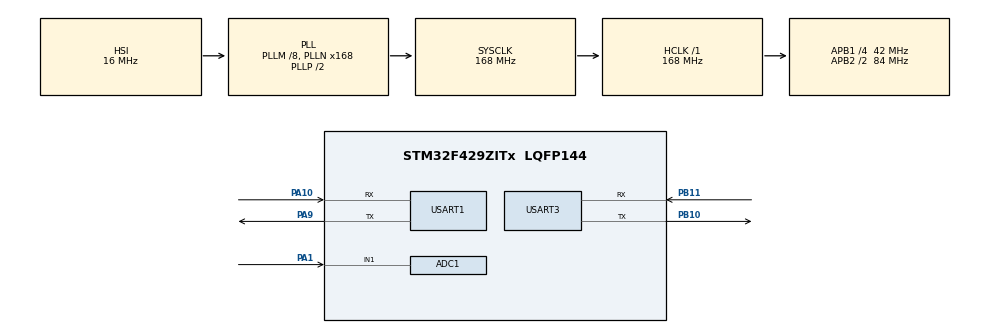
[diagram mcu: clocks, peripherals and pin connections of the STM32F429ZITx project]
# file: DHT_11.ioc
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ADC1.Channel-12\#ChannelRegularConversion=ADC_CHANNEL_1
ADC1.ContinuousConvMode=ENABLE
ADC1.NbrOfConversionFlag=1
ADC1.Rank-12\#ChannelRegularConversion=1
ADC1.SamplingTime-12\#ChannelRegularConversion=ADC_SAMPLETIME_3CYCLES
ADC1.master=1
Mcu.Family=STM32F4
Mcu.Name=STM32F429ZITx
Mcu.Package=LQFP144
NVIC.PriorityGroup=NVIC_PRIORITYGROUP_4
NVIC.USART1_IRQn=true\:0\:0\:false\:false\:true\:true\:true\:true
NVIC.USART3_IRQn=true\:0\:0\:false\:false\:true\:true\:true\:true
PA1.Signal=ADCx_IN1
PA10.Mode=Asynchronous
PA10.Signal=USART1_RX
PA13.Mode=Serial_Wire
PA13.Signal=SYS_JTMS-SWDIO
PA14.Mode=Serial_Wire
PA14.Signal=SYS_JTCK-SWCLK
PA9.Mode=Asynchronous
PA9.Signal=USART1_TX
PB10.Mode=Asynchronous
PB10.Signal=USART3_TX
PB11.Mode=Asynchronous
PB11.Signal=USART3_RX
PH0/OSC_IN.Mode=HSE-External-Oscillator
PH0/OSC_IN.Signal=RCC_OSC_IN
PH1/OSC_OUT.Mode=HSE-External-Oscillator
PH1/OSC_OUT.Signal=RCC_OSC_OUT
ProjectManager.HeapSize=0x200
ProjectManager.StackSize=0x400
ProjectManager.TargetToolchain=STM32CubeIDE
RCC.48MHZClocksFreq_Value=84000000
RCC.AHBFreq_Value=168000000
RCC.APB1CLKDivider=RCC_HCLK_DIV4
RCC.APB1Freq_Value=42000000
RCC.APB1TimFreq_Value=84000000
RCC.APB2CLKDivider=RCC_HCLK_DIV2
RCC.APB2Freq_Value=84000000
RCC.APB2TimFreq_Value=168000000
RCC.CortexFreq_Value=168000000
RCC.HCLKFreq_Value=168000000
RCC.HSE_VALUE=25000000
RCC.HSI_VALUE=16000000
RCC.LSE_VALUE=32768
RCC.PLLM=8
RCC.PLLN=168
RCC.SYSCLKFreq_VALUE=168000000
RCC.SYSCLKSource=RCC_SYSCLKSOURCE_PLLCLK
RCC.VCOOutputFreq_Value=336000000
SH.ADCx_IN1.0=ADC1_IN1,IN1
TIM1.Prescaler=167
USART1.VirtualMode=VM_ASYNC
USART3.VirtualMode=VM_ASYNC
VP_TIM1_VS_ClockSourceINT.Mode=Internal
board=custom

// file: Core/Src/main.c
/* USER CODE BEGIN Header */
/**
  ******************************************************************************
  * @file           : main.c
  * @brief          : Main program body
  ******************************************************************************
  * @attention
  *
  * Copyright (c) 2024 STMicroelectronics.
  * All rights reserved.
  *
  * This software is licensed under terms that can be found in the LICENSE file
  * in the root directory of this software component.
  * If no LICENSE file comes with this software, it is provided AS-IS.
  *
  ******************************************************************************
  */
/* USER CODE END Header */
#include "main.h"

/* USER CODE BEGIN Includes */
#include <stdio.h>
#include <string.h>

#define DHT11_PORT GPIOB
#define DHT11_PIN GPIO_PIN_9

uint8_t RHI, RHD, TCI, TCD, SUM;
uint32_t pMillis, cMillis;

float tCelsius = 0;
float tFahrenheit = 0;
float RH = 0;
/* USER CODE END Includes */

ADC_HandleTypeDef hadc1;

TIM_HandleTypeDef htim1;

UART_HandleTypeDef huart1;
UART_HandleTypeDef huart3;

void SystemClock_Config(void);
static void MX_GPIO_Init(void);
static void MX_TIM1_Init(void);
static void MX_USART1_UART_Init(void);
static void MX_USART3_UART_Init(void);
static void MX_ADC1_Init(void);

/* USER CODE BEGIN 0 */
void microDelay (uint16_t delay)
{
  __HAL_TIM_SET_COUNTER(&htim1, 0);
  while (__HAL_TIM_GET_COUNTER(&htim1) < delay);
}

uint8_t DHT11_Start (void)
{
  uint8_t Response = 0;
  GPIO_InitTypeDef GPIO_InitStructPrivate = {0};
  GPIO_InitStructPrivate.Pin = DHT11_PIN;
  GPIO_InitStructPrivate.Mode = GPIO_MODE_OUTPUT_PP;
  GPIO_InitStructPrivate.Speed = GPIO_SPEED_FREQ_LOW;
  GPIO_InitStructPrivate.Pull = GPIO_NOPULL;
  HAL_GPIO_Init(DHT11_PORT, &GPIO_InitStructPrivate); // set the pin as output
  HAL_GPIO_WritePin (DHT11_PORT, DHT11_PIN, 0);   // pull the pin low
  HAL_Delay(20);   // wait for 20ms
  HAL_GPIO_WritePin (DHT11_PORT, DHT11_PIN, 1);   // pull the pin high
  microDelay (30);   // wait for 30us
  GPIO_InitStructPrivate.Mode = GPIO_MODE_INPUT;
  GPIO_InitStructPrivate.Pull = GPIO_PULLUP;
  HAL_GPIO_Init(DHT11_PORT, &GPIO_InitStructPrivate); // set the pin as input
  microDelay (40);
  if (!(HAL_GPIO_ReadPin (DHT11_PORT, DHT11_PIN)))
  {
    microDelay (80);
    if ((HAL_GPIO_ReadPin (DHT11_PORT, DHT11_PIN))) Response = 1;
  }
  pMillis = HAL_GetTick();
  cMillis = HAL_GetTick();
  while ((HAL_GPIO_ReadPin (DHT11_PORT, DHT11_PIN)) && pMillis + 2 > cMillis)
  {
    cMillis = HAL_GetTick();
  }
  return Response;
}

uint8_t DHT11_Read (void)
{
  uint8_t a,b;
  for (a=0;a<8;a++)
  {
    pMillis = HAL_GetTick();
    cMillis = HAL_GetTick();
    while (!(HAL_GPIO_ReadPin (DHT11_PORT, DHT11_PIN)) && pMillis + 2 > cMillis)
    {  // wait for the pin to go high
      cMillis = HAL_GetTick();
    }
    microDelay (40);   // wait for 40 us
    if (!(HAL_GPIO_ReadPin (DHT11_PORT, DHT11_PIN)))   // if the pin is low
      b&= ~(1<<(7-a));
    else
      b|= (1<<(7-a));
    pMillis = HAL_GetTick();
    cMillis = HAL_GetTick();
    while ((HAL_GPIO_ReadPin (DHT11_PORT, DHT11_PIN)) && pMillis + 2 > cMillis)
    {  // wait for the pin to go low
      cMillis = HAL_GetTick();
    }
  }
  return b;
}

/* Private includes ----------------------------------------------------------*/
/* USER CODE BEGIN Includes */

/* USER CODE END Includes */

/* Private typedef -----------------------------------------------------------*/
/* USER CODE BEGIN PTD */

/* USER CODE END PTD */

/* Private define ------------------------------------------------------------*/
/* USER CODE BEGIN PD */

/* USER CODE END PD */

/* Private macro -------------------------------------------------------------*/
/* USER CODE BEGIN PM */

/* USER CODE END PM */

/* Private variables ---------------------------------------------------------*/

/* USER CODE BEGIN PV */

/* USER CODE END PV */

/* Private function prototypes -----------------------------------------------*/

/* Private user code ---------------------------------------------------------*/
/* USER CODE BEGIN 0 */

/* USER CODE END 0 */

int main(void)
{

  /* MCU Configuration--------------------------------------------------------*/

  /* Reset of all peripherals, Initializes the Flash interface and the Systick. */
  HAL_Init();

  /* Configure the system clock */
  SystemClock_Config();

  /* Initialize all configured peripherals */
  MX_GPIO_Init();
  MX_TIM1_Init();
  MX_USART1_UART_Init();
  MX_USART3_UART_Init();
  MX_ADC1_Init();
  /* USER CODE BEGIN 2 */
  HAL_TIM_Base_Start(&htim1);

    uint8_t buffer[100];
    int adc_val;
  /* USER CODE END 2 */

  /* Infinite loop */
    while (1)
    {
     HAL_ADC_Start(&hadc1);

    /* USER CODE BEGIN 3 */
  	  if(DHT11_Start())
  	  	     {
  	         //HAL_UART_Transmit(&huart1, "yes\r\n", strlen("yes\r\n"), 100);

  	  	       RHI = DHT11_Read(); // Relative humidity integral
  	  	       RHD = DHT11_Read(); // Relative humidity decimal
  	  	       TCI = DHT11_Read(); // Celsius integral
  	  	       TCD = DHT11_Read(); // Celsius decimal
  	  	       SUM = DHT11_Read(); // Check sum
  	  	       if (RHI + RHD + TCI + TCD == SUM)
  	  	       {
  	  	         // Can use RHI and TCI for any purposes if whole number only needed
  	  	         tCelsius = (float)TCI + (float)(TCD/10.0);
  	  	         tFahrenheit = tCelsius * 9/5 + 32;
  	  	         RH = (float)RHI + (float)(RHD/10.0);
  	  	         adc_val=HAL_ADC_GetValue(&hadc1);
  	  	         // Can use tCelsius, tFahrenheit and RH for any purposes
  	  	         sprintf((char *)buffer, "%.1f %.1f %d\r\n",tCelsius,RH,adc_val);
  	  	         HAL_UART_Transmit(&huart1, buffer, strlen((char *)buffer), 100);
  	  	         HAL_UART_Transmit(&huart3, buffer, strlen((char *)buffer), 100);

  	  	         HAL_Delay(1000);
  	  	       }

  	  	     }
  	  	  else{

  	  		  continue;
  	  	  }
    }
  /* USER CODE END 3 */
}

void SystemClock_Config(void)
{
  RCC_OscInitTypeDef RCC_OscInitStruct = {0};
  RCC_ClkInitTypeDef RCC_ClkInitStruct = {0};

  /** Configure the main internal regulator output voltage
  */
  __HAL_RCC_PWR_CLK_ENABLE();
  __HAL_PWR_VOLTAGESCALING_CONFIG(PWR_REGULATOR_VOLTAGE_SCALE1);

  /** Initializes the RCC Oscillators according to the specified parameters
  * in the RCC_OscInitTypeDef structure.
  */
  RCC_OscInitStruct.OscillatorType = RCC_OSCILLATORTYPE_HSI;
  RCC_OscInitStruct.HSIState = RCC_HSI_ON;
  RCC_OscInitStruct.HSICalibrationValue = RCC_HSICALIBRATION_DEFAULT;
  RCC_OscInitStruct.PLL.PLLState = RCC_PLL_ON;
  RCC_OscInitStruct.PLL.PLLSource = RCC_PLLSOURCE_HSI;
  RCC_OscInitStruct.PLL.PLLM = 8;
  RCC_OscInitStruct.PLL.PLLN = 168;
  RCC_OscInitStruct.PLL.PLLP = RCC_PLLP_DIV2;
  RCC_OscInitStruct.PLL.PLLQ = 4;
  if (HAL_RCC_OscConfig(&RCC_OscInitStruct) != HAL_OK)
  {
    Error_Handler();
  }

  /** Initializes the CPU, AHB and APB buses clocks
  */
  RCC_ClkInitStruct.ClockType = RCC_CLOCKTYPE_HCLK|RCC_CLOCKTYPE_SYSCLK
                              |RCC_CLOCKTYPE_PCLK1|RCC_CLOCKTYPE_PCLK2;
  RCC_ClkInitStruct.SYSCLKSource = RCC_SYSCLKSOURCE_PLLCLK;
  RCC_ClkInitStruct.AHBCLKDivider = RCC_SYSCLK_DIV1;
  RCC_ClkInitStruct.APB1CLKDivider = RCC_HCLK_DIV4;
  RCC_ClkInitStruct.APB2CLKDivider = RCC_HCLK_DIV2;

  if (HAL_RCC_ClockConfig(&RCC_ClkInitStruct, FLASH_LATENCY_5) != HAL_OK)
  {
    Error_Handler();
  }
}

static void MX_ADC1_Init(void)
{

  ADC_ChannelConfTypeDef sConfig = {0};

  /** Configure the global features of the ADC (Clock, Resolution, Data Alignment and number of conversion)
  */
  hadc1.Instance = ADC1;
  hadc1.Init.ClockPrescaler = ADC_CLOCK_SYNC_PCLK_DIV4;
  hadc1.Init.Resolution = ADC_RESOLUTION_12B;
  hadc1.Init.ScanConvMode = DISABLE;
  hadc1.Init.ContinuousConvMode = ENABLE;
  hadc1.Init.DiscontinuousConvMode = DISABLE;
  hadc1.Init.ExternalTrigConvEdge = ADC_EXTERNALTRIGCONVEDGE_NONE;
  hadc1.Init.ExternalTrigConv = ADC_SOFTWARE_START;
  hadc1.Init.DataAlign = ADC_DATAALIGN_RIGHT;
  hadc1.Init.NbrOfConversion = 1;
  hadc1.Init.DMAContinuousRequests = DISABLE;
  hadc1.Init.EOCSelection = ADC_EOC_SINGLE_CONV;
  if (HAL_ADC_Init(&hadc1) != HAL_OK)
  {
    Error_Handler();
  }

  /** Configure for the selected ADC regular channel its corresponding rank in the sequencer and its sample time.
  */
  sConfig.Channel = ADC_CHANNEL_1;
  sConfig.Rank = 1;
  sConfig.SamplingTime = ADC_SAMPLETIME_3CYCLES;
  if (HAL_ADC_ConfigChannel(&hadc1, &sConfig) != HAL_OK)
  {
    Error_Handler();
  }

}

static void MX_TIM1_Init(void)
{

  TIM_ClockConfigTypeDef sClockSourceConfig = {0};
  TIM_MasterConfigTypeDef sMasterConfig = {0};

  htim1.Instance = TIM1;
  htim1.Init.Prescaler = 167;
  htim1.Init.CounterMode = TIM_COUNTERMODE_UP;
  htim1.Init.Period = 65535;
  htim1.Init.ClockDivision = TIM_CLOCKDIVISION_DIV1;
  htim1.Init.RepetitionCounter = 0;
  htim1.Init.AutoReloadPreload = TIM_AUTORELOAD_PRELOAD_DISABLE;
  if (HAL_TIM_Base_Init(&htim1) != HAL_OK)
  {
    Error_Handler();
  }
  sClockSourceConfig.ClockSource = TIM_CLOCKSOURCE_INTERNAL;
  if (HAL_TIM_ConfigClockSource(&htim1, &sClockSourceConfig) != HAL_OK)
  {
    Error_Handler();
  }
  sMasterConfig.MasterOutputTrigger = TIM_TRGO_RESET;
  sMasterConfig.MasterSlaveMode = TIM_MASTERSLAVEMODE_DISABLE;
  if (HAL_TIMEx_MasterConfigSynchronization(&htim1, &sMasterConfig) != HAL_OK)
  {
    Error_Handler();
  }

}

static void MX_USART1_UART_Init(void)
{

  huart1.Instance = USART1;
  huart1.Init.BaudRate = 9600;
  huart1.Init.WordLength = UART_WORDLENGTH_8B;
  huart1.Init.StopBits = UART_STOPBITS_1;
  huart1.Init.Parity = UART_PARITY_NONE;
  huart1.Init.Mode = UART_MODE_TX_RX;
  huart1.Init.HwFlowCtl = UART_HWCONTROL_NONE;
  huart1.Init.OverSampling = UART_OVERSAMPLING_16;
  if (HAL_UART_Init(&huart1) != HAL_OK)
  {
    Error_Handler();
  }

}

static void MX_USART3_UART_Init(void)
{

  huart3.Instance = USART3;
  huart3.Init.BaudRate = 9600;
  huart3.Init.WordLength = UART_WORDLENGTH_8B;
  huart3.Init.StopBits = UART_STOPBITS_1;
  huart3.Init.Parity = UART_PARITY_NONE;
  huart3.Init.Mode = UART_MODE_TX_RX;
  huart3.Init.HwFlowCtl = UART_HWCONTROL_NONE;
  huart3.Init.OverSampling = UART_OVERSAMPLING_16;
  if (HAL_UART_Init(&huart3) != HAL_OK)
  {
    Error_Handler();
  }

}

static void MX_GPIO_Init(void)
{

  /* GPIO Ports Clock Enable */
  __HAL_RCC_GPIOH_CLK_ENABLE();
  __HAL_RCC_GPIOA_CLK_ENABLE();
  __HAL_RCC_GPIOB_CLK_ENABLE();

}

void Error_Handler(void)
{
  __disable_irq();
  while (1)
  {
  }
}
